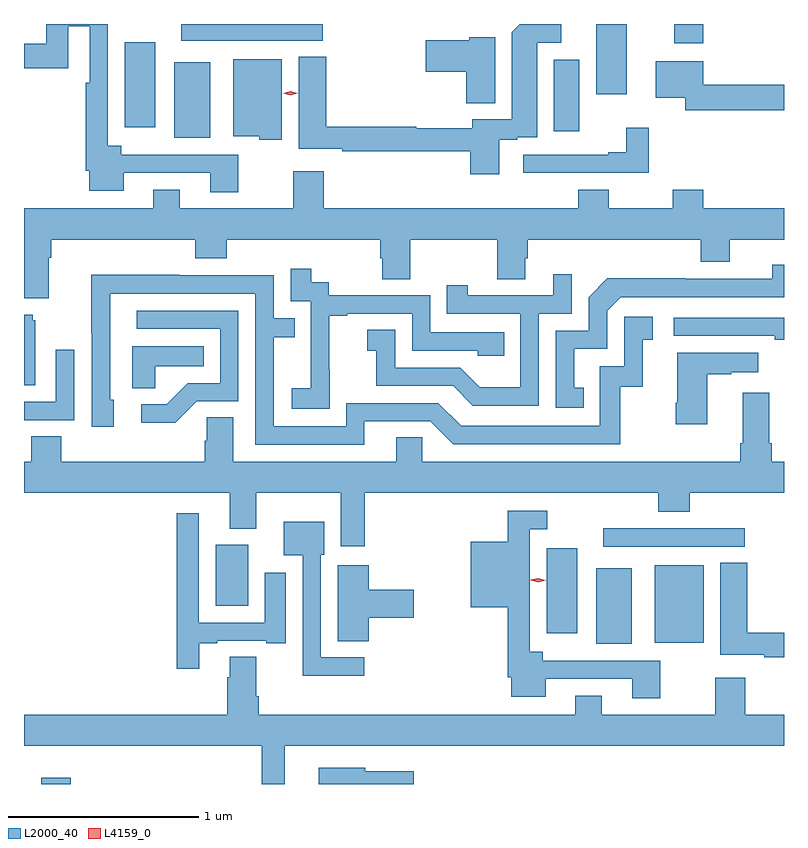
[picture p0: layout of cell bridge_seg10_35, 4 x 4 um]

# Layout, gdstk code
import gdstk
lib = gdstk.Library(unit=1e-6, precision=1e-09)
def R(c, l, rs):  # rectangles x0, y0, x1, y1
    for r in rs: c.add(gdstk.rectangle(r[:2], r[2:], *l))
def P(c, l, *ps):  # polygons
    for p in ps: c.add(gdstk.Polygon(p, *l))
L2000_40 = (2000, 40)
L4159_0 = (4159, 0)

bridge_seg10_35 = lib.new_cell('bridge_seg10_35')
R(bridge_seg10_35, L2000_40, [(937.223,1318.763,937.376,1318.795), (940.142,1319.501,940.33,1319.899), (940.451,1319.507,940.708,1319.914), (939.881,1319.556,940.042,1320.004), (938.141,1319.702,938.311,1320.022), (940.179,1320.012,940.924,1320.108), (937.922,1322.165,938.11,1322.563), (939.92,1322.199,940.054,1322.575), (937.661,1322.22,937.822,1322.668), (940.142,1322.394,940.303,1322.763), (940.553,1322.661,940.706,1322.763), (937.959,1322.676,938.704,1322.763)])
P(bridge_seg10_35, L2000_40, [(938.259,1322.076),(937.642,1322.076),(937.642,1322.122),(937.572,1322.122),(937.572,1322.763),(937.249,1322.763),(937.249,1322.659),(937.131,1322.659),(937.131,1322.53),(937.365,1322.53),(937.365,1322.752),(937.476,1322.752),(937.476,1322.453),(937.456,1322.453),(937.456,1321.99),(937.475,1321.99),(937.475,1321.886),(937.657,1321.886),(937.657,1321.98),(938.111,1321.98),(938.111,1321.878),(938.259,1321.878)],
  [(939.631,1322.154),(939.728,1322.154),(939.728,1322.166),(939.832,1322.166),(939.832,1322.664),(939.958,1322.664),(939.958,1322.762),(939.74,1322.762),(939.698,1322.72),(939.698,1322.262),(939.491,1322.262),(939.491,1322.215),(939.195,1322.215),(939.195,1322.222),(938.723,1322.222),(938.723,1322.591),(938.576,1322.591),(938.576,1322.106),(938.806,1322.106),(938.806,1322.094),(939.479,1322.094),(939.479,1321.971),(939.631,1321.971)],
  [(939.61,1322.692),(939.474,1322.692),(939.474,1322.677),(939.246,1322.677),(939.246,1322.512),(939.458,1322.512),(939.458,1322.347),(939.61,1322.347)],
  [(938.488,1322.578),(938.231,1322.578),(938.231,1322.171),(938.37,1322.171),(938.37,1322.153),(938.488,1322.153)],
  [(941.131,1322.444),(940.707,1322.444),(940.707,1322.566),(940.457,1322.566),(940.457,1322.375),(940.611,1322.375),(940.611,1322.308),(941.131,1322.308)],
  [(940.418,1322.218),(940.3,1322.218),(940.3,1322.089),(940.205,1322.089),(940.205,1322.076),(939.759,1322.076),(939.759,1321.98),(940.418,1321.98)],
  [(937.261,1321.532),(937.274,1321.532),(937.274,1321.628),(938.033,1321.628),(938.033,1321.529),(938.198,1321.529),(938.198,1321.628),(939.005,1321.628),(939.005,1321.53),(939.017,1321.53),(939.017,1321.42),(939.165,1321.42),(939.165,1321.628),(939.622,1321.628),(939.622,1321.42),(939.769,1321.42),(939.769,1321.53),(939.782,1321.53),(939.782,1321.628),(940.694,1321.628),(940.694,1321.511),(940.846,1321.511),(940.846,1321.628),(941.131,1321.628),(941.131,1321.792),(940.706,1321.792),(940.706,1321.891),(940.546,1321.891),(940.546,1321.792),(940.209,1321.792),(940.209,1321.891),(940.049,1321.891),(940.049,1321.792),(938.708,1321.792),(938.708,1321.987),(938.548,1321.987),(938.548,1321.792),(937.951,1321.792),(937.951,1321.891),(937.811,1321.891),(937.811,1321.792),(937.131,1321.792),(937.131,1321.319),(937.261,1321.319)],
  [(940.076,1320.849),(940.027,1320.849),(940.027,1321.053),(940.2,1321.053),(940.2,1321.254),(940.272,1321.326),(941.131,1321.326),(941.131,1321.495),(941.07,1321.495),(941.07,1321.422),(940.61,1321.422),(940.61,1321.424),(940.202,1321.424),(940.104,1321.326),(940.104,1321.149),(939.93,1321.149),(939.93,1320.744),(940.076,1320.744)],
  [(938.739,1320.943),(938.738,1320.943),(938.738,1321.227),(938.833,1321.227),(938.833,1321.239),(939.174,1321.239),(939.174,1321.044),(939.519,1321.044),(939.519,1321.017),(939.659,1321.017),(939.659,1321.14),(939.27,1321.14),(939.27,1321.335),(938.736,1321.335),(938.736,1321.404),(938.644,1321.404),(938.644,1321.474),(938.535,1321.474),(938.535,1321.305),(938.64,1321.305),(938.64,1321.076),(938.639,1321.076),(938.639,1320.847),(938.541,1320.847),(938.541,1320.737),(938.739,1320.737)],
  [(939.84,1321.239),(940.014,1321.239),(940.014,1321.447),(939.917,1321.447),(939.917,1321.335),(939.466,1321.335),(939.466,1321.387),(939.355,1321.387),(939.355,1321.239),(939.744,1321.239),(939.744,1320.85),(939.53,1320.85),(939.426,1320.954),(939.084,1320.954),(939.084,1321.153),(938.937,1321.153),(938.937,1321.043),(938.986,1321.043),(938.986,1320.858),(939.389,1320.858),(939.494,1320.753),(939.84,1320.753)],
  [(938.923,1320.672),(939.27,1320.672),(939.39,1320.552),(940.27,1320.552),(940.27,1320.855),(940.388,1320.855),(940.388,1321.101),(940.441,1321.101),(940.441,1321.222),(940.29,1321.222),(940.29,1320.963),(940.161,1320.963),(940.161,1320.648),(939.432,1320.648),(939.312,1320.768),(938.826,1320.768),(938.826,1320.645),(938.445,1320.645),(938.445,1321.114),(938.555,1321.114),(938.555,1321.215),(938.445,1321.215),(938.445,1321.44),(937.949,1321.44),(937.949,1321.442),(937.486,1321.442),(937.486,1321.135),(937.488,1321.135),(937.488,1320.642),(937.603,1320.642),(937.603,1320.786),(937.584,1320.786),(937.584,1321.344),(938.349,1321.344),(938.349,1320.549),(938.923,1320.549)],
  [(938.04,1320.777),(938.259,1320.777),(938.259,1321.254),(937.725,1321.254),(937.725,1321.158),(938.163,1321.158),(938.163,1320.873),(937.994,1320.873),(937.883,1320.762),(937.749,1320.762),(937.749,1320.665),(937.927,1320.665)],
  [(937.189,1321.203),(937.178,1321.203),(937.178,1321.234),(937.131,1321.234),(937.131,1320.863),(937.189,1320.863)],
  [(941.131,1321.218),(940.551,1321.218),(940.551,1321.122),(941.083,1321.122),(941.083,1321.102),(941.131,1321.102)],
  [(937.821,1320.962),(938.078,1320.962),(938.078,1321.066),(937.7,1321.066),(937.7,1320.847),(937.821,1320.847)],
  [(937.395,1321.048),(937.299,1321.048),(937.299,1320.774),(937.131,1320.774),(937.131,1320.678),(937.395,1320.678)],
  [(940.726,1320.919),(940.853,1320.919),(940.853,1320.929),(940.996,1320.929),(940.996,1321.033),(940.568,1321.033),(940.568,1320.769),(940.561,1320.769),(940.561,1320.657),(940.726,1320.657)],
  [(938.924,1320.296),(940.469,1320.296),(940.469,1320.197),(940.634,1320.197),(940.634,1320.296),(941.131,1320.296),(941.131,1320.46),(941.066,1320.46),(941.066,1320.556),(941.053,1320.556),(941.053,1320.823),(940.913,1320.823),(940.913,1320.556),(940.901,1320.556),(940.901,1320.46),(939.228,1320.46),(939.228,1320.587),(939.089,1320.587),(939.089,1320.46),(938.233,1320.46),(938.233,1320.692),(938.094,1320.692),(938.094,1320.569),(938.081,1320.569),(938.081,1320.46),(937.328,1320.46),(937.328,1320.593),(937.168,1320.593),(937.168,1320.46),(937.131,1320.46),(937.131,1320.296),(938.213,1320.296),(938.213,1320.107),(938.353,1320.107),(938.353,1320.296),(938.798,1320.296),(938.798,1320.015),(938.924,1320.015)],
  [(940.479,1319.412),(939.862,1319.412),(939.862,1319.458),(939.792,1319.458),(939.792,1320.105),(939.886,1320.105),(939.886,1320.201),(939.676,1320.201),(939.676,1320.037),(939.482,1320.037),(939.482,1319.693),(939.676,1319.693),(939.676,1319.326),(939.695,1319.326),(939.695,1319.222),(939.877,1319.222),(939.877,1319.316),(940.331,1319.316),(940.331,1319.214),(940.479,1319.214)],
  [(938.053,1319.505),(938.149,1319.505),(938.149,1319.517),(938.405,1319.517),(938.405,1319.505),(938.509,1319.505),(938.509,1319.875),(938.399,1319.875),(938.399,1319.613),(938.052,1319.613),(938.052,1320.187),(937.936,1320.187),(937.936,1319.37),(938.053,1319.37)],
  [(938.923,1319.43),(938.694,1319.43),(938.694,1319.97),(938.71,1319.97),(938.71,1320.142),(938.498,1320.142),(938.498,1319.966),(938.598,1319.966),(938.598,1319.333),(938.923,1319.333)],
  [(941.131,1319.558),(940.938,1319.558),(940.938,1319.927),(940.796,1319.927),(940.796,1319.442),(941.026,1319.442),(941.026,1319.43),(941.131,1319.43)],
  [(938.945,1319.639),(939.181,1319.639),(939.181,1319.786),(938.945,1319.786),(938.945,1319.914),(938.783,1319.914),(938.783,1319.515),(938.945,1319.515)],
  [(938.503,1318.964),(941.131,1318.964),(941.131,1319.128),(940.928,1319.128),(940.928,1319.323),(940.768,1319.323),(940.768,1319.128),(940.171,1319.128),(940.171,1319.227),(940.031,1319.227),(940.031,1319.128),(938.366,1319.128),(938.366,1319.224),(938.353,1319.224),(938.353,1319.432),(938.213,1319.432),(938.213,1319.324),(938.201,1319.324),(938.201,1319.128),(937.131,1319.128),(937.131,1318.964),(938.382,1318.964),(938.382,1318.763),(938.503,1318.763)],
  [(939.181,1318.831),(938.928,1318.831),(938.928,1318.849),(938.681,1318.849),(938.681,1318.763),(939.181,1318.763)])
P(bridge_seg10_35, L4159_0, [(939.838,1319.826),(939.799,1319.836),(939.799,1319.836),(939.799,1319.837),(939.838,1319.846),(939.877,1319.835),(939.877,1319.835),(939.877,1319.835)],
  [(938.533,1322.388),(938.495,1322.398),(938.495,1322.398),(938.495,1322.398),(938.533,1322.408),(938.571,1322.398),(938.572,1322.398),(938.571,1322.398)])

lib.write_gds('bridge_seg10_35.gds')
